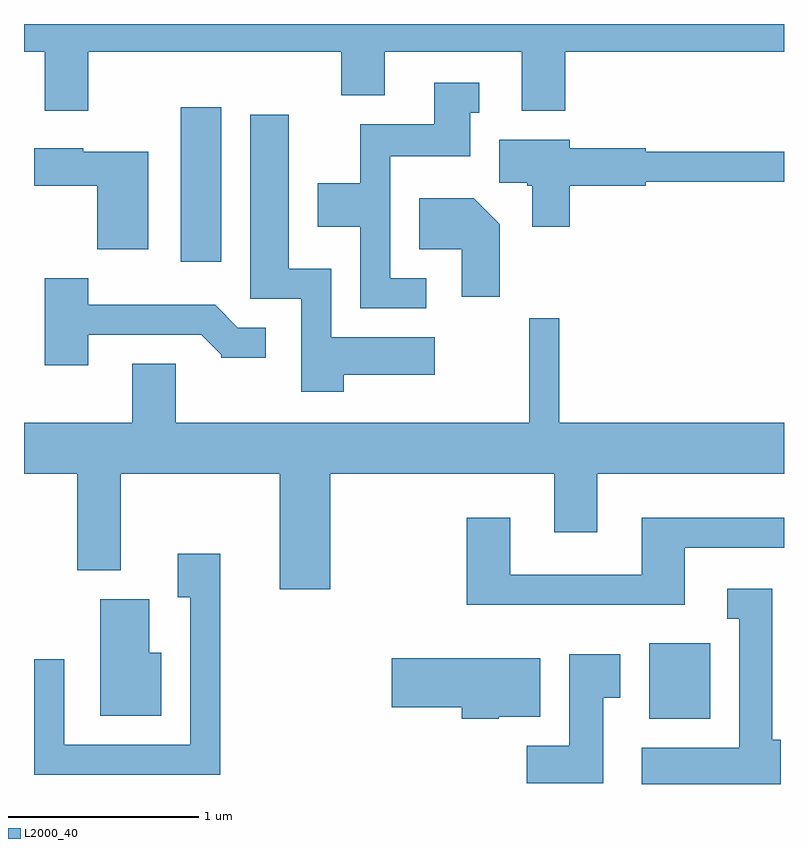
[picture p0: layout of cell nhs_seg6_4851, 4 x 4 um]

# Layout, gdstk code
import gdstk
lib = gdstk.Library(unit=1e-6, precision=1e-09)
def R(c, l, rs):  # rectangles x0, y0, x1, y1
    for r in rs: c.add(gdstk.rectangle(r[:2], r[2:], *l))
def P(c, l, *ps):  # polygons
    for p in ps: c.add(gdstk.Polygon(p, *l))
L2000_40 = (2000, 40)

nhs_seg6_4851 = lib.new_cell('nhs_seg6_4851')
R(nhs_seg6_4851, L2000_40, [(336.901,1566.506,337.224,1566.904), (334.436,1568.911,334.649,1569.724)])
P(nhs_seg6_4851, L2000_40, [(333.949,1570.016),(335.281,1570.016),(335.281,1569.786),(335.509,1569.786),(335.509,1570.016),(336.231,1570.016),(336.231,1569.706),(336.459,1569.706),(336.459,1570.016),(337.611,1570.016),(337.611,1570.162),(333.611,1570.162),(333.611,1570.016),(333.721,1570.016),(333.721,1569.706),(333.949,1569.706)],
  [(335.728,1568.824),(335.539,1568.824),(335.539,1569.466),(335.959,1569.466),(335.959,1569.696),(336.008,1569.696),(336.008,1569.854),(335.771,1569.854),(335.771,1569.634),(335.381,1569.634),(335.381,1569.324),(335.156,1569.324),(335.156,1569.096),(335.381,1569.096),(335.381,1568.666),(335.728,1568.666)],
  [(335.294,1568.316),(335.774,1568.316),(335.774,1568.514),(335.229,1568.514),(335.229,1568.874),(335.004,1568.874),(335.004,1569.684),(334.801,1569.684),(334.801,1568.716),(335.071,1568.716),(335.071,1568.226),(335.294,1568.226)],
  [(336.484,1569.311),(336.884,1569.311),(336.884,1569.331),(337.611,1569.331),(337.611,1569.489),(336.884,1569.489),(336.884,1569.509),(336.484,1569.509),(336.484,1569.554),(336.111,1569.554),(336.111,1569.326),(336.26,1569.326),(336.26,1569.311),(336.286,1569.311),(336.286,1569.096),(336.484,1569.096)],
  [(334.264,1569.489),(333.924,1569.489),(333.924,1569.509),(333.666,1569.509),(333.666,1569.311),(333.996,1569.311),(333.996,1568.976),(334.264,1568.976)],
  [(336.114,1569.107),(335.977,1569.244),(335.691,1569.244),(335.691,1568.976),(335.916,1568.976),(335.916,1568.726),(336.114,1568.726)],
  [(333.949,1568.526),(334.544,1568.526),(334.65,1568.42),(334.65,1568.406),(334.883,1568.406),(334.883,1568.564),(334.737,1568.564),(334.617,1568.684),(333.949,1568.684),(333.949,1568.824),(333.721,1568.824),(333.721,1568.366),(333.949,1568.366)],
  [(335.224,1567.796),(336.401,1567.796),(336.401,1567.486),(336.629,1567.486),(336.629,1567.796),(337.611,1567.796),(337.611,1568.064),(336.429,1568.064),(336.429,1568.613),(336.271,1568.613),(336.271,1568.064),(334.409,1568.064),(334.409,1568.374),(334.181,1568.374),(334.181,1568.064),(333.611,1568.064),(333.611,1567.796),(333.891,1567.796),(333.891,1567.286),(334.119,1567.286),(334.119,1567.796),(334.956,1567.796),(334.956,1567.186),(335.224,1567.186)],
  [(337.089,1567.406),(337.611,1567.406),(337.611,1567.564),(336.861,1567.564),(336.861,1567.264),(336.169,1567.264),(336.169,1567.564),(335.941,1567.564),(335.941,1567.106),(337.089,1567.106)],
  [(334.644,1567.374),(334.421,1567.374),(334.421,1567.146),(334.486,1567.146),(334.486,1566.369),(333.824,1566.369),(333.824,1566.818),(333.666,1566.818),(333.666,1566.211),(334.644,1566.211)],
  [(337.594,1566.394),(337.549,1566.394),(337.549,1567.189),(337.313,1567.189),(337.313,1567.031),(337.376,1567.031),(337.376,1566.354),(336.861,1566.354),(336.861,1566.162),(337.594,1566.162)],
  [(334.334,1566.854),(334.269,1566.854),(334.269,1567.134),(334.011,1567.134),(334.011,1566.521),(334.334,1566.521)],
  [(336.659,1566.616),(336.749,1566.616),(336.749,1566.844),(336.481,1566.844),(336.481,1566.364),(336.256,1566.364),(336.256,1566.166),(336.659,1566.166)],
  [(336.11,1566.516),(336.329,1566.516),(336.329,1566.824),(335.546,1566.824),(335.546,1566.566),(335.916,1566.566),(335.916,1566.506),(336.11,1566.506)])

lib.write_gds('nhs_seg6_4851.gds')
